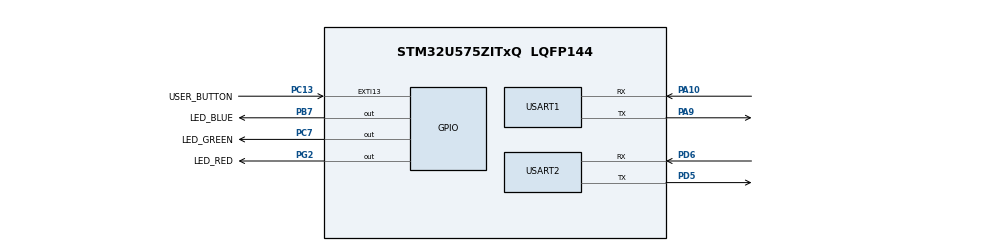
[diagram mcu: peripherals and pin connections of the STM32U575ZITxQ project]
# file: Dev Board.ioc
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CORTEX_M33_NS.userName=CORTEX_M33
Mcu.Family=STM32U5
Mcu.Name=STM32U575ZITxQ
Mcu.Package=LQFP144
NVIC.PriorityGroup=NVIC_PRIORITYGROUP_3
NVIC.TIM17_IRQn=true\:7\:0\:false\:false\:true\:false\:true\:true
NVIC.TimeBase=TIM17_IRQn
NVIC.TimeBaseIP=TIM17
PA10.Mode=Asynchronous
PA10.Signal=USART1_RX
PA13\ (JTMS/SWDIO).Signal=DEBUG_JTMS-SWDIO
PA14\ (JTCK/SWCLK).Signal=DEBUG_JTCK-SWCLK
PA9.Mode=Asynchronous
PA9.Signal=USART1_TX
PB3\ (JTDO/TRACESWO).Signal=DEBUG_JTDO-SWO
PB7.GPIO_Label=LED_BLUE
PB7.Signal=GPIO_Output
PC13.GPIO_Label=USER_BUTTON
PC13.Signal=GPXTI13
PC14-OSC32_IN\ (PC14).Signal=RCC_OSC32_IN
PC15-OSC32_OUT\ (PC15).Signal=RCC_OSC32_OUT
PC7.GPIO_Label=LED_GREEN
PC7.Signal=GPIO_Output
PD5.Mode=Asynchronous
PD5.Signal=USART2_TX
PD6.Mode=Asynchronous
PD6.Signal=USART2_RX
PG2.GPIO_Label=LED_RED
PG2.Signal=GPIO_Output
PWR.PowerMode=PWR_SMPS_SUPPLY
ProjectManager.HeapSize=0x200
ProjectManager.StackSize=0x400
ProjectManager.TargetToolchain=STM32CubeIDE
RCC.ADCFreq_Value=16000000
RCC.DACCLockSelectionVirtual=RCC_DAC1CLKSOURCE_LSI
RCC.EPOD_VALUE=4000000
RCC.HSE_VALUE=16000000
RCC.HSI48_VALUE=48000000
RCC.HSI_VALUE=16000000
RCC.LSE_VALUE=32768
RCC.LSIDIV_VALUE=32000
RCC.MSI_VALUE=4000000
RCC.USBFreq_Value=48000000
RCC.VCOOutputFreq_Value=516000000
USART1.VirtualMode-Asynchronous=VM_ASYNC
USART2.VirtualMode-Asynchronous=VM_ASYNC
VP_ICACHE_VS_ENABLE_ICACHE_MEMORY.Mode=Memoryregions
VP_ICACHE_VS_ICACHE.Mode=DirectMappedCache
VP_LPBAMQUEUE_VS_QUEUE.Mode=QUEUEMODE
VP_LPBAM_VS_SIG1.Mode=SmartRun
VP_LPBAM_VS_SIG4.Mode=LPDMA1
VP_MEMORYMAP_VS_MEMORYMAP.Mode=CurAppReg
VP_PWR_VS_DBSignals.Mode=DisableDeadBatterySignals
VP_PWR_VS_LPOM.Mode=PowerOptimisation
VP_PWR_VS_SECSignals.Mode=Security/Privilege
VP_SYS_VS_tim17.Mode=TIM17
board=NUCLEO-U575ZI-Q

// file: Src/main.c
/* USER CODE BEGIN Header */
/**
  ******************************************************************************
  * @file           : main.c
  * @brief          : Main program body
  ******************************************************************************
  * @attention
  *
  * Copyright (c) 2025 STMicroelectronics.
  * All rights reserved.
  *
  * This software is licensed under terms that can be found in the LICENSE file
  * in the root directory of this software component.
  * If no LICENSE file comes with this software, it is provided AS-IS.
  *
  ******************************************************************************
  */
/* USER CODE END Header */

#include "main.h"
#include "UARTMod.h"

UART_HandleTypeDef huart1;
UART_HandleTypeDef huart2;

/* USER CODE BEGIN PV */
// USART mapping for this app:
//   huart1 = PC/PuTTY side  (PA9 TX, PA10 RX, AF7)
//   huart2 = STM <-> STM link (PD5 TX, PD6 RX, AF7)
//
// Buffers for 1-byte interrupt-driven bridge
uint8_t rx1_data;  // inbound from USART1 (PC)
uint8_t rx2_data;  // inbound from USART2 (LINK)
/* USER CODE END PV */

void SystemClock_Config(void);
static void SystemPower_Config(void);
static void MX_GPIO_Init(void);
static void MX_ICACHE_Init(void);
static void MX_USART2_UART_Init(void);
static void MX_USART1_UART_Init(void);

/* USER CODE BEGIN 0 */
// (none)
/* USER CODE END 0 */

int main(void)
{

  /* MCU Configuration--------------------------------------------------------*/

  /* Reset of all peripherals, Initializes the Flash interface and the Systick. */
  HAL_Init();

  /* Configure the System Power */
  SystemPower_Config();

  /* Configure the system clock */
  SystemClock_Config();

  /* Initialize all configured peripherals */
  MX_GPIO_Init();
  MX_ICACHE_Init();
  MX_USART2_UART_Init();
  MX_USART1_UART_Init();
  /* USER CODE BEGIN 2 */
  UARTMod_Init();

  // Reconfigure both UARTs to Oversampling=8 (safer at low clocks), then re-init.
  // We must do it here because Cube sets 16 in generated code.
  huart1.Init.OverSampling = UART_OVERSAMPLING_8;   // PC side (USART1)
  HAL_UART_DeInit(&huart1);
  if (HAL_UART_Init(&huart1) != HAL_OK) { Error_Handler(); }

  huart2.Init.OverSampling = UART_OVERSAMPLING_8;   // LINK side (USART2)
  HAL_UART_DeInit(&huart2);
  if (HAL_UART_Init(&huart2) != HAL_OK) { Error_Handler(); }

  __HAL_UART_CLEAR_OREFLAG(&huart1);
  __HAL_UART_CLEAR_FEFLAG(&huart1);
  __HAL_UART_CLEAR_NEFLAG(&huart1);
  __HAL_UART_CLEAR_PEFLAG(&huart1);
  if (__HAL_UART_GET_FLAG(&huart1, UART_FLAG_RXNE)) { (void)huart1.Instance->RDR; }

  __HAL_UART_CLEAR_OREFLAG(&huart2);
  __HAL_UART_CLEAR_FEFLAG(&huart2);
  __HAL_UART_CLEAR_NEFLAG(&huart2);
  __HAL_UART_CLEAR_PEFLAG(&huart2);
  if (__HAL_UART_GET_FLAG(&huart2, UART_FLAG_RXNE)) { (void)huart2.Instance->RDR; }

  // Arm 1-byte RX on BOTH UARTs (interrupt mode)
  HAL_UART_Receive_IT(&huart1, &rx1_data, 1);  // PC -> us
  HAL_UART_Receive_IT(&huart2, &rx2_data, 1);  // LINK -> us

  // Ensure both IRQ lines are enabled (you can also let Cube generate this in MSP)
  HAL_NVIC_SetPriority(USART1_IRQn, 0, 0);
  HAL_NVIC_EnableIRQ(USART1_IRQn);
  HAL_NVIC_SetPriority(USART2_IRQn, 0, 0);
  HAL_NVIC_EnableIRQ(USART2_IRQn);

  /* USER CODE END 2 */

  /* Infinite loop */
  while (1)
  {

    /* USER CODE BEGIN 3 */
    // all work is interrupt-driven
  }
  /* USER CODE END 3 */
}

void SystemClock_Config(void)
{
  RCC_OscInitTypeDef RCC_OscInitStruct = {0};
  RCC_ClkInitTypeDef RCC_ClkInitStruct = {0};

  /** Configure the main internal regulator output voltage
  */
  if (HAL_PWREx_ControlVoltageScaling(PWR_REGULATOR_VOLTAGE_SCALE4) != HAL_OK)
  {
    Error_Handler();
  }

  /** Initializes the CPU, AHB and APB buses clocks
  */
  RCC_OscInitStruct.OscillatorType = RCC_OSCILLATORTYPE_MSI;
  RCC_OscInitStruct.MSIState = RCC_MSI_ON;
  RCC_OscInitStruct.MSICalibrationValue = RCC_MSICALIBRATION_DEFAULT;
  RCC_OscInitStruct.MSIClockRange = RCC_MSIRANGE_4;
  RCC_OscInitStruct.PLL.PLLState = RCC_PLL_NONE;
  if (HAL_RCC_OscConfig(&RCC_OscInitStruct) != HAL_OK)
  {
    Error_Handler();
  }

  /** Initializes the CPU, AHB and APB buses clocks
  */
  RCC_ClkInitStruct.ClockType = RCC_CLOCKTYPE_HCLK|RCC_CLOCKTYPE_SYSCLK
                              |RCC_CLOCKTYPE_PCLK1|RCC_CLOCKTYPE_PCLK2
                              |RCC_CLOCKTYPE_PCLK3;
  RCC_ClkInitStruct.SYSCLKSource = RCC_SYSCLKSOURCE_MSI;
  RCC_ClkInitStruct.AHBCLKDivider = RCC_SYSCLK_DIV1;
  RCC_ClkInitStruct.APB1CLKDivider = RCC_HCLK_DIV1;
  RCC_ClkInitStruct.APB2CLKDivider = RCC_HCLK_DIV1;
  RCC_ClkInitStruct.APB3CLKDivider = RCC_HCLK_DIV1;

  if (HAL_RCC_ClockConfig(&RCC_ClkInitStruct, FLASH_LATENCY_0) != HAL_OK)
  {
    Error_Handler();
  }
}

/**
  * @brief Power Configuration
  * @retval None
  */
static void SystemPower_Config(void)
{
  /* USER CODE BEGIN PWR */
  // Minimal but complete power setup for U5:
  // - Enable VddIO2 (some GPIO banks/peripherals need it)
  // - Disable UCPD dead-battery pull-ups
  // - Switch to SMPS regulator (lower power, ok for NUCLEO-U575)
  HAL_PWREx_EnableVddIO2();

  HAL_PWREx_DisableUCPDDeadBattery();

  if (HAL_PWREx_ConfigSupply(PWR_SMPS_SUPPLY) != HAL_OK)
  {
    Error_Handler();
  }
  /* USER CODE END PWR */
}

static void MX_ICACHE_Init(void)
{

  /** Enable instruction cache in 1-way (direct mapped cache)
  */
  if (HAL_ICACHE_ConfigAssociativityMode(ICACHE_1WAY) != HAL_OK)
  {
    Error_Handler();
  }
  if (HAL_ICACHE_Enable() != HAL_OK)
  {
    Error_Handler();
  }

}

static void MX_USART1_UART_Init(void)
{

  /* USER CODE BEGIN USART1_Init 1 */
  // Leave defaults here; we reconfigure Oversampling in USER CODE 2 after init.
  /* USER CODE END USART1_Init 1 */
  huart1.Instance = USART1;
  huart1.Init.BaudRate = 115200;
  huart1.Init.WordLength = UART_WORDLENGTH_8B;
  huart1.Init.StopBits = UART_STOPBITS_1;
  huart1.Init.Parity = UART_PARITY_NONE;
  huart1.Init.Mode = UART_MODE_TX_RX;
  huart1.Init.HwFlowCtl = UART_HWCONTROL_NONE;
  huart1.Init.OverSampling = UART_OVERSAMPLING_16;
  huart1.Init.OneBitSampling = UART_ONE_BIT_SAMPLE_DISABLE;
  huart1.Init.ClockPrescaler = UART_PRESCALER_DIV1;
  huart1.AdvancedInit.AdvFeatureInit = UART_ADVFEATURE_NO_INIT;
  if (HAL_UART_Init(&huart1) != HAL_OK)
  {
    Error_Handler();
  }
  if (HAL_UARTEx_SetTxFifoThreshold(&huart1, UART_TXFIFO_THRESHOLD_1_8) != HAL_OK)
  {
    Error_Handler();
  }
  if (HAL_UARTEx_SetRxFifoThreshold(&huart1, UART_RXFIFO_THRESHOLD_1_8) != HAL_OK)
  {
    Error_Handler();
  }
  if (HAL_UARTEx_DisableFifoMode(&huart1) != HAL_OK)
  {
    Error_Handler();
  }
  /* USER CODE BEGIN USART1_Init 2 */
  // (handled in USER CODE 2 section of main() to keep everything in one place)
  /* USER CODE END USART1_Init 2 */

}

static void MX_USART2_UART_Init(void)
{

  /* USER CODE BEGIN USART2_Init 1 */
  // Leave defaults here; we reconfigure Oversampling in USER CODE 2 after init.
  /* USER CODE END USART2_Init 1 */
  huart2.Instance = USART2;
  huart2.Init.BaudRate = 115200;
  huart2.Init.WordLength = UART_WORDLENGTH_8B;
  huart2.Init.StopBits = UART_STOPBITS_1;
  huart2.Init.Parity = UART_PARITY_NONE;
  huart2.Init.Mode = UART_MODE_TX_RX;
  huart2.Init.HwFlowCtl = UART_HWCONTROL_NONE;
  huart2.Init.OverSampling = UART_OVERSAMPLING_16;
  huart2.Init.OneBitSampling = UART_ONE_BIT_SAMPLE_DISABLE;
  huart2.Init.ClockPrescaler = UART_PRESCALER_DIV1;
  huart2.AdvancedInit.AdvFeatureInit = UART_ADVFEATURE_NO_INIT;
  if (HAL_UART_Init(&huart2) != HAL_OK)
  {
    Error_Handler();
  }
  if (HAL_UARTEx_SetTxFifoThreshold(&huart2, UART_TXFIFO_THRESHOLD_1_8) != HAL_OK)
  {
    Error_Handler();
  }
  if (HAL_UARTEx_SetRxFifoThreshold(&huart2, UART_RXFIFO_THRESHOLD_1_8) != HAL_OK)
  {
    Error_Handler();
  }
  if (HAL_UARTEx_DisableFifoMode(&huart2) != HAL_OK)
  {
    Error_Handler();
  }
  /* USER CODE BEGIN USART2_Init 2 */
  // (handled in USER CODE 2 section of main() to keep everything in one place)
  /* USER CODE END USART2_Init 2 */

}

static void MX_GPIO_Init(void)
{
  GPIO_InitTypeDef GPIO_InitStruct = {0};

  /* GPIO Ports Clock Enable */
  __HAL_RCC_GPIOC_CLK_ENABLE();
  __HAL_RCC_GPIOG_CLK_ENABLE();
  __HAL_RCC_GPIOA_CLK_ENABLE();
  __HAL_RCC_GPIOD_CLK_ENABLE();
  __HAL_RCC_GPIOB_CLK_ENABLE();

  /*Configure GPIO pin Output Level */
  HAL_GPIO_WritePin(LED_RED_GPIO_Port, LED_RED_Pin, GPIO_PIN_RESET);

  /*Configure GPIO pin Output Level */
  HAL_GPIO_WritePin(LED_GREEN_GPIO_Port, LED_GREEN_Pin, GPIO_PIN_RESET);

  /*Configure GPIO pin Output Level */
  HAL_GPIO_WritePin(LED_BLUE_GPIO_Port, LED_BLUE_Pin, GPIO_PIN_RESET);

  /*Configure GPIO pin : USER_BUTTON_Pin */
  GPIO_InitStruct.Pin = USER_BUTTON_Pin;
  GPIO_InitStruct.Mode = GPIO_MODE_IT_RISING;
  GPIO_InitStruct.Pull = GPIO_NOPULL;
  HAL_GPIO_Init(USER_BUTTON_GPIO_Port, &GPIO_InitStruct);

  /*Configure GPIO pin : LED_RED_Pin */
  GPIO_InitStruct.Pin = LED_RED_Pin;
  GPIO_InitStruct.Mode = GPIO_MODE_OUTPUT_PP;
  GPIO_InitStruct.Pull = GPIO_NOPULL;
  GPIO_InitStruct.Speed = GPIO_SPEED_FREQ_LOW;
  HAL_GPIO_Init(LED_RED_GPIO_Port, &GPIO_InitStruct);

  /*Configure GPIO pin : LED_GREEN_Pin */
  GPIO_InitStruct.Pin = LED_GREEN_Pin;
  GPIO_InitStruct.Mode = GPIO_MODE_OUTPUT_PP;
  GPIO_InitStruct.Pull = GPIO_NOPULL;
  GPIO_InitStruct.Speed = GPIO_SPEED_FREQ_LOW;
  HAL_GPIO_Init(LED_GREEN_GPIO_Port, &GPIO_InitStruct);

  /*Configure GPIO pin : LED_BLUE_Pin */
  GPIO_InitStruct.Pin = LED_BLUE_Pin;
  GPIO_InitStruct.Mode = GPIO_MODE_OUTPUT_PP;
  GPIO_InitStruct.Pull = GPIO_NOPULL;
  GPIO_InitStruct.Speed = GPIO_SPEED_FREQ_LOW;
  HAL_GPIO_Init(LED_BLUE_GPIO_Port, &GPIO_InitStruct);

  /* USER CODE BEGIN MX_GPIO_Init_2 */
  // ========= UART PIN INITIALIZATION (explicit, so pins are always set) =========
  // USART1 (PC/PuTTY) -> PA9 TX, PA10 RX, AF7
  __HAL_RCC_USART1_CLK_ENABLE();  // safe to enable here (MSP may also enable)
  GPIO_InitTypeDef GPIO_InitStruct_UART = {0};
  GPIO_InitStruct_UART.Pin       = GPIO_PIN_9 | GPIO_PIN_10; // PA9 TX, PA10 RX
  GPIO_InitStruct_UART.Mode      = GPIO_MODE_AF_PP;
  GPIO_InitStruct_UART.Pull      = GPIO_NOPULL;   // use PULLUP if your line needs it
  GPIO_InitStruct_UART.Speed     = GPIO_SPEED_FREQ_LOW;
  GPIO_InitStruct_UART.Alternate = GPIO_AF7_USART1;
  HAL_GPIO_Init(GPIOA, &GPIO_InitStruct_UART);

  // USART2 (STM<->STM link) -> PD5 TX, PD6 RX, AF7
  __HAL_RCC_USART2_CLK_ENABLE();  // safe to enable here (MSP may also enable)
  GPIO_InitStruct_UART.Pin       = GPIO_PIN_5 | GPIO_PIN_6;  // PD5 TX, PD6 RX
  GPIO_InitStruct_UART.Mode      = GPIO_MODE_AF_PP;
  GPIO_InitStruct_UART.Pull      = GPIO_NOPULL;
  GPIO_InitStruct_UART.Speed     = GPIO_SPEED_FREQ_LOW;
  GPIO_InitStruct_UART.Alternate = GPIO_AF7_USART2;
  HAL_GPIO_Init(GPIOD, &GPIO_InitStruct_UART);
  // ============================================================================
  /* USER CODE END MX_GPIO_Init_2 */
}

/* USER CODE BEGIN 4 */

// UART bridge: forward bytes between PC (USART1) and LINK (USART2)
void HAL_UART_RxCpltCallback(UART_HandleTypeDef *huart) {

	UARTMod_RxCpltCallback(huart);

	//    const uint32_t TX_TIMEOUT_MS = 5;
//
//    if (huart->Instance == USART1) {
//        // Byte arrived from PC/PuTTY -> forward to link
//        (void)HAL_UART_Transmit(&huart2, &rx1_data, 1, TX_TIMEOUT_MS);
//        // Re-arm reception on PC side
//        HAL_UART_Receive_IT(&huart1, &rx1_data, 1);
//    }
//    else if (huart->Instance == USART2) {
//        // Byte arrived from LINK (other STM32) -> forward to PC
//        (void)HAL_UART_Transmit(&huart1, &rx2_data, 1, TX_TIMEOUT_MS);
//        // Re-arm reception on LINK side
//        HAL_UART_Receive_IT(&huart2, &rx2_data, 1);
//    }
}

void HAL_UART_ErrorCallback(UART_HandleTypeDef *huart)
{
	UARTMod_ErrorHandle(huart);

	// Re-arm after noise/overrun, etc.
//  if (huart->Instance == USART1) {
//    HAL_UART_Receive_IT(&huart1, &rx1_data, 1);
//  } else if (huart->Instance == USART2) {
//    HAL_UART_Receive_IT(&huart2, &rx2_data, 1);
//  }
}

/* USER CODE END 4 */

void HAL_TIM_PeriodElapsedCallback(TIM_HandleTypeDef *htim)
{
  if (htim->Instance == TIM17)
  {
    HAL_IncTick();
  }
}

void Error_Handler(void)
{
  __disable_irq();
  while (1)
  {
  }
}
